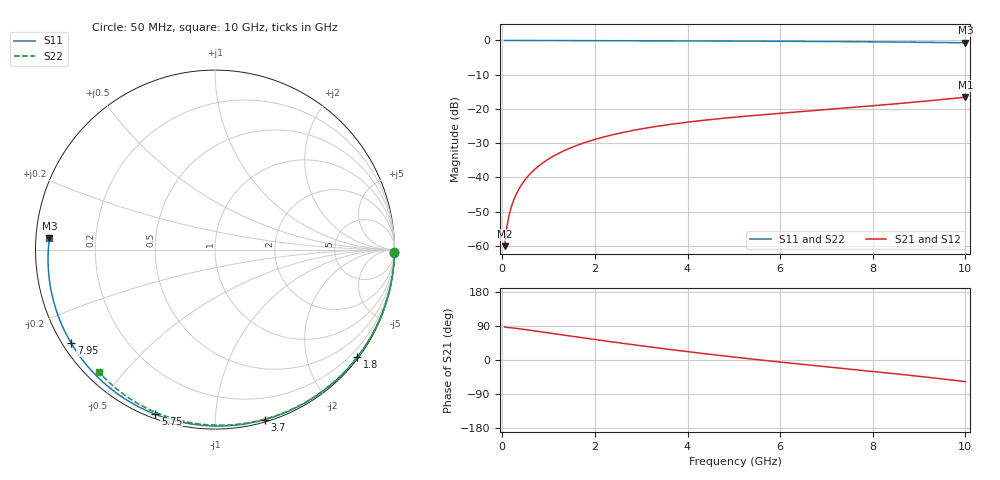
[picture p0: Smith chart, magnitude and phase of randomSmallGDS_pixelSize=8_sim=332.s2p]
! freq	dB(S11)	phase(S11)	dB(S12)	phase(S12)
!  dB(S21)	phase(S21)	dB(S22)	phase(S22)
!S-par simulation data
#  GHz  S  DB  R 50
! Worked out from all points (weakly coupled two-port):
!   200 points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, 50 MHz to 10 GHz, reference 50 ohm
!   highest |S21| = -16.58 dB at 10 GHz (marker M1); lowest = -60.1 dB at 50 MHz (marker M2)
!   lowest |S11| = -0.7 dB at 10 GHz (marker M3), VSWR 25.56, Z = 1.96 + j1.77 ohm
!   |S11| at or under -10 dB: nowhere
!   |S22| runs from -0.5 to 0.0 dB; largest |S21 - S12| = 0
!   S11 on the Smith chart (normalised r, x): 50 MHz: open; 1.8 GHz: 0.03, -2.98; 3.7 GHz: 0.02, -1.33; 5.75 GHz: 0.02, -0.70; 7.95 GHz: 0.02, -0.30; 10 GHz: 0.04, +0.04
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0.05  -0.00 -1.1  -60.07 87.2  -60.07 87.2  -0.00 -0.8
0.1  -0.00 -2.1  -54.26 86.1  -54.26 86.1  -0.00 -1.6
0.15  -0.00 -3.2  -50.84 85.5  -50.84 85.5  -0.00 -2.3
0.2  -0.00 -4.2  -48.40 84.9  -48.40 84.9  -0.00 -3.1
0.35  -0.01 -7.4  -43.60 82.7  -43.60 82.7  -0.00 -5.5
0.5  -0.01 -10.5  -40.54 80.2  -40.54 80.2  -0.01 -7.8
0.7  -0.02 -14.7  -37.65 76.8  -37.65 76.8  -0.01 -10.9
1  -0.03 -20.9  -34.61 71.5  -34.61 71.5  -0.02 -15.5
1.35  -0.04 -28.0  -32.09 65.4  -32.09 65.4  -0.03 -20.8
1.75  -0.05 -36.1  -29.97 58.4  -29.97 58.4  -0.04 -26.9
1.8  -0.05 -37.1  -29.74 57.5  -29.74 57.5  -0.04 -27.6
2.6  -0.08 -52.9  -26.88 44.0  -26.88 44.0  -0.06 -39.5
3.4  -0.10 -68.2  -24.95 31.2  -24.95 31.2  -0.08 -51.1
3.7  -0.11 -73.7  -24.37 26.6  -24.37 26.6  -0.09 -55.3
4.35  -0.14 -85.5  -23.31 16.9  -23.31 16.9  -0.11 -64.3
5.05  -0.17 -97.9  -22.37 7.1  -22.37 7.1  -0.13 -73.7
5.75  -0.21 -109.9  -21.55 -2.2  -21.55 -2.2  -0.16 -82.8
6.7  -0.28 -125.9  -20.52 -14.2  -20.52 -14.2  -0.22 -94.7
7.95  -0.39 -146.9  -19.15 -29.6  -19.15 -29.6  -0.31 -109.7
8.35  -0.44 -153.8  -18.68 -34.6  -18.68 -34.6  -0.34 -114.4
9.2  -0.55 -168.9  -17.63 -45.7  -17.63 -45.7  -0.43 -124.2
10  -0.68 175.9  -16.58 -57.0  -16.58 -57.0  -0.54 -133.3
